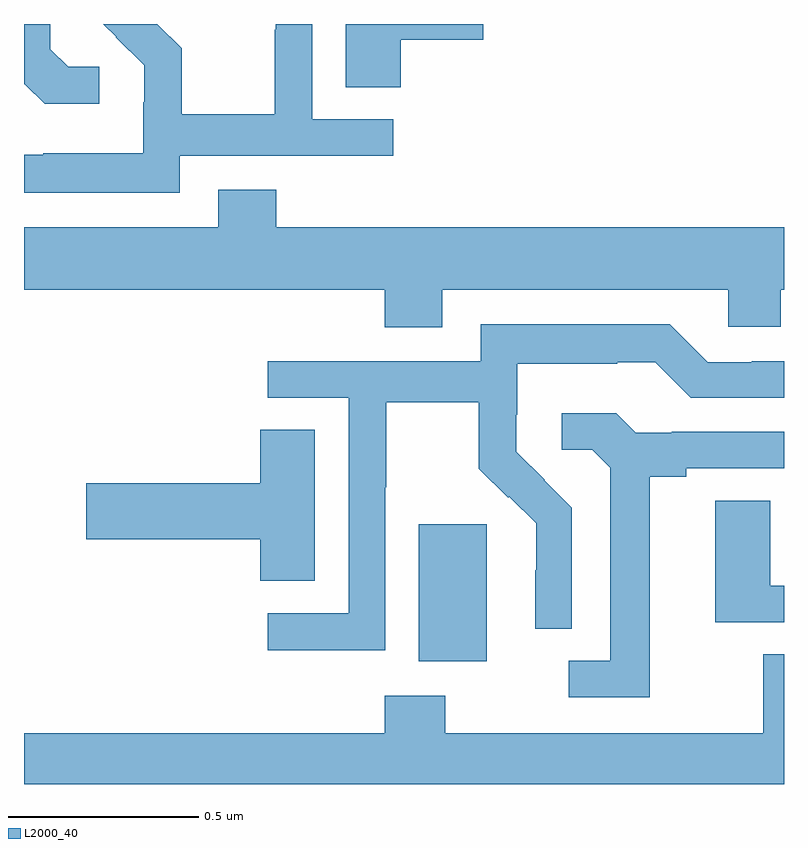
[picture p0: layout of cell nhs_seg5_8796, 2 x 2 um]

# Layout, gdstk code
import gdstk
lib = gdstk.Library(unit=1e-6, precision=1e-09)
def R(c, l, rs):  # rectangles x0, y0, x1, y1
    for r in rs: c.add(gdstk.rectangle(r[:2], r[2:], *l))
def P(c, l, *ps):  # polygons
    for p in ps: c.add(gdstk.Polygon(p, *l))
L2000_40 = (2000, 40)

nhs_seg5_8796 = lib.new_cell('nhs_seg5_8796')
R(nhs_seg5_8796, L2000_40, [(227.039,849.122,227.218,849.483)])
P(nhs_seg5_8796, L2000_40, [(226.198,850.686),(226.116,850.686),(226.069,850.733),(226.069,850.799),(226,850.799),(226,850.641),(226.002,850.641),(226.054,850.589),(226.198,850.589)],
  [(226.991,850.757),(227.209,850.757),(227.209,850.799),(226.847,850.799),(226.847,850.633),(226.991,850.633)],
  [(226.41,850.452),(226.972,850.452),(226.972,850.548),(226.758,850.548),(226.758,850.799),(226.662,850.799),(226.662,850.784),(226.66,850.784),(226.66,850.561),(226.415,850.561),(226.415,850.735),(226.351,850.799),(226.209,850.799),(226.243,850.765),(226.242,850.764),(226.316,850.69),(226.316,850.593),(226.314,850.593),(226.314,850.459),(226.051,850.459),(226.051,850.455),(226,850.455),(226,850.355),(226.41,850.355)],
  [(226.949,850.001),(227.101,850.001),(227.101,850.1),(227.853,850.1),(227.853,850.002),(227.991,850.002),(227.991,850.1),(228,850.1),(228,850.264),(226.664,850.264),(226.664,850.363),(226.511,850.363),(226.511,850.264),(226,850.264),(226,850.1),(226.949,850.1)],
  [(226.95,849.58),(226.953,849.58),(226.953,849.804),(227.197,849.804),(227.197,849.629),(227.274,849.552),(227.277,849.555),(227.348,849.485),(227.348,849.362),(227.346,849.362),(227.346,849.208),(227.442,849.208),(227.442,849.526),(227.369,849.599),(227.37,849.6),(227.296,849.674),(227.296,849.771),(227.298,849.771),(227.298,849.905),(227.561,849.905),(227.561,849.909),(227.661,849.909),(227.754,849.816),(228,849.816),(228,849.912),(227.915,849.912),(227.915,849.909),(227.799,849.909),(227.699,850.009),(227.202,850.009),(227.202,849.912),(226.641,849.912),(226.641,849.816),(226.854,849.816),(226.854,849.249),(226.641,849.249),(226.641,849.151),(226.95,849.151)],
  [(227.647,849.608),(227.743,849.608),(227.743,849.63),(228,849.63),(228,849.726),(227.704,849.726),(227.704,849.723),(227.61,849.723),(227.558,849.775),(227.415,849.775),(227.415,849.678),(227.496,849.678),(227.543,849.631),(227.543,849.123),(227.433,849.123),(227.433,849.027),(227.647,849.027)],
  [(226.765,849.731),(226.622,849.731),(226.622,849.59),(226.164,849.59),(226.164,849.443),(226.622,849.443),(226.622,849.334),(226.765,849.334)],
  [(228,849.321),(227.964,849.321),(227.964,849.545),(227.819,849.545),(227.819,849.225),(228,849.225)],
  [(228,849.14),(227.945,849.14),(227.945,848.932),(227.109,848.932),(227.109,849.031),(226.949,849.031),(226.949,848.932),(226,848.932),(226,848.799),(228,848.799)])

lib.write_gds('nhs_seg5_8796.gds')
